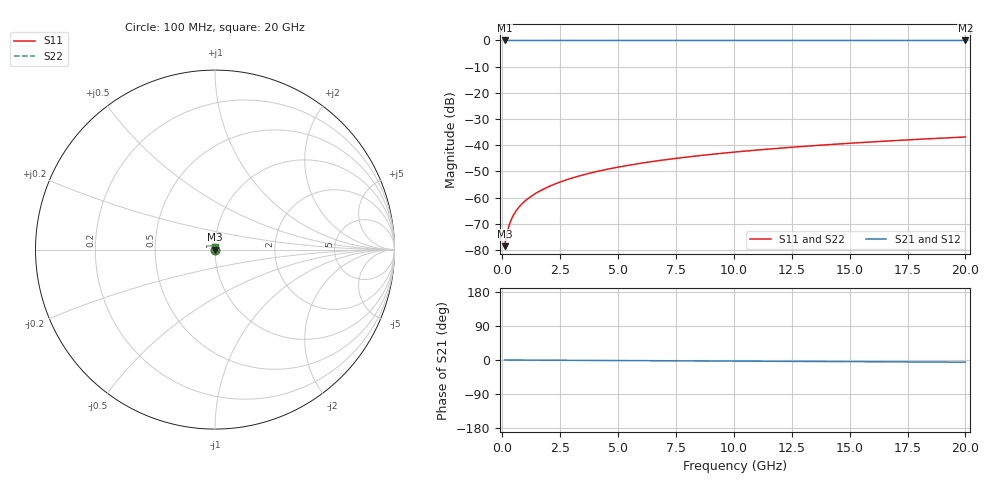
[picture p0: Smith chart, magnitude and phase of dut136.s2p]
! Touchstone file exported from HFSS 2026.1.0
!  File:  C:/ffzhzh/LocalFiles/Ansys_Project_Files/temp_train_TSV_136_1782990256_42984.aedt
!  Generated:  07:05:46 PM Jul  2, 2026
!  Design:  TSV
!  Project:  temp_train_TSV_136_1782990256_42984
! Variables:
!  h_bsmrdl = 2um
!  h_ox = 20um
!  h_rdl = 5um
!  h_sub = 50.1um
!  h_tmrdl = 5um
!  h_tsv = 50.1um
!  h_via = 3um
!  l_bsmrdl = 300um
!  l_sub = 425.24um
!  l_tmrdl = 200um
!  m_sub = 200um
!  pitch = 57.77um
!  r_tsv = 12.62um
!  s_tmrdl = 10um
!  w_bsmrdl = 18um
!  w_sub = 500um
!  w_tmrdl = 12um
!  x_tsv_center1 = 206um
!  x_tsv_center2 = 524um
!  x_tsv_center3 = 736um
!  x_tsv_center4 = 1054um
!  x_tsv_center5 = 1266um
!  x_tsv_center6 = 1584um
# GHz S MA R 50.000000
! Terminal data exported
! Port[1] = TSV1_1_T1
! Port[2] = TSV1_1_T2
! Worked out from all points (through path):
!   200 points, 100 MHz to 20 GHz, reference 50 ohm
!   highest |S21| = 0.00 dB at 100 MHz (marker M1); lowest = 0.0 dB at 20 GHz (marker M2)
!   lowest |S11| = -78.6 dB at 100 MHz (marker M3), VSWR 1.00, Z = 50 + j0.00986 ohm
!   |S11| at or under -10 dB: start of sweep to end of sweep
!   |S22| runs from -78.6 to -36.9 dB; largest |S21 - S12| = 2e-15
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0.1  0.0001181 56.6  0.9999 -0.0  0.9999 -0.0  0.0001181 56.6
! Gamma 0 0 0 0
! Port Impedance 50 0 50 0
0.2  0.0002084 69.5  0.9999 -0.1  0.9999 -0.1  0.0002084 69.5
0.3  0.0003008 73.6  0.9999 -0.1  0.9999 -0.1  0.0003008 73.6
0.4  0.0003906 75.3  0.9999 -0.1  0.9999 -0.1  0.0003906 75.3
0.5  0.0004772 76.1  0.9999 -0.2  0.9999 -0.2  0.0004772 76.1
0.6  0.0005606 76.6  0.9999 -0.2  0.9999 -0.2  0.0005606 76.6
0.7  0.0006413 77.0  0.9999 -0.2  0.9999 -0.2  0.0006413 77.0
0.9  0.0007968 77.7  0.9998 -0.3  0.9998 -0.3  0.0007968 77.7
1.1  0.0009476 78.4  0.9998 -0.3  0.9998 -0.3  0.0009476 78.4
1.3  0.001096 79.1  0.9998 -0.4  0.9998 -0.4  0.001096 79.1
1.6  0.001318 79.9  0.9998 -0.5  0.9998 -0.5  0.001318 79.9
1.9  0.001539 80.6  0.9998 -0.6  0.9998 -0.6  0.001539 80.6
2.6  0.002055 81.8  0.9997 -0.8  0.9997 -0.8  0.002055 81.8
3.5  0.002717 82.5  0.9997 -1.0  0.9997 -1.0  0.002717 82.5
4.2  0.003229 82.8  0.9997 -1.2  0.9997 -1.2  0.003229 82.8
5  0.00381 83.0  0.9996 -1.5  0.9996 -1.5  0.00381 83.0
6.8  0.005104 83.2  0.9996 -2.0  0.9996 -2.0  0.005104 83.2
8.3  0.006172 83.2  0.9995 -2.4  0.9995 -2.4  0.006172 83.2
10.1  0.007447 83.0  0.9994 -2.9  0.9994 -2.9  0.007447 83.0
13.4  0.009769 82.6  0.9994 -3.9  0.9994 -3.9  0.009769 82.6
16.7  0.01208 82.0  0.9993 -4.8  0.9993 -4.8  0.01208 82.0
20  0.01436 81.3  0.9992 -5.8  0.9992 -5.8  0.01436 81.3
